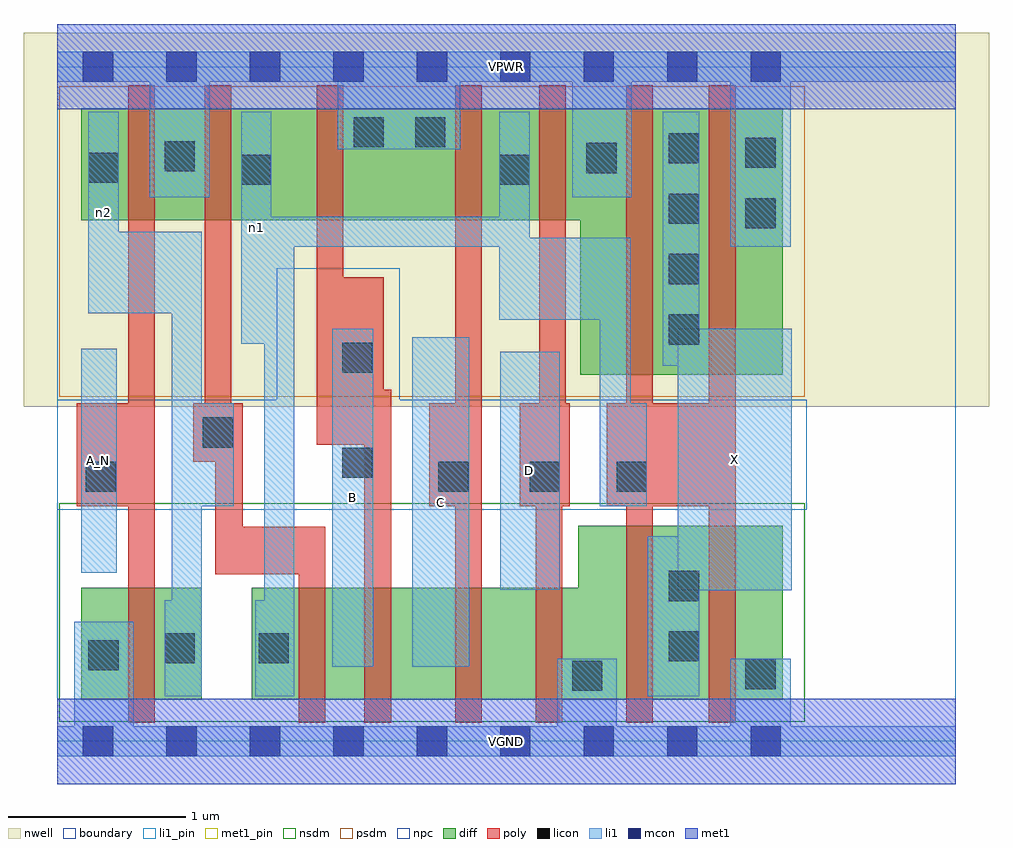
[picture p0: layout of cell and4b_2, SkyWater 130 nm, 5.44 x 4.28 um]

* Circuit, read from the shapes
.subckt and4b_2 A_N B C D VGND VPWR X n1 n2
XM1 n2 A_N VGND VSUBS sky130_fd_pr__nfet_01v8 w=0.63 l=0.15
XM2 n3 n2 n1 VSUBS sky130_fd_pr__nfet_01v8 w=0.63 l=0.15
XM3 n4 B n3 VSUBS sky130_fd_pr__nfet_01v8 w=0.63 l=0.15
XM4 n5 C n4 VSUBS sky130_fd_pr__nfet_01v8 w=0.63 l=0.15
XM5 VGND D n5 VSUBS sky130_fd_pr__nfet_01v8 w=0.63 l=0.15
XM6 X n1 VGND VSUBS sky130_fd_pr__nfet_01v8 w=0.98 l=0.15 m=2
XM7 VPWR A_N n2 n6 sky130_fd_pr__pfet_01v8 w=0.63 l=0.15
XM8 n1 n2 VPWR n6 sky130_fd_pr__pfet_01v8 w=0.63 l=0.15
XM9 VPWR B n1 n6 sky130_fd_pr__pfet_01v8 w=0.63 l=0.15
XM10 n1 C VPWR n6 sky130_fd_pr__pfet_01v8 w=0.63 l=0.15
XM11 VPWR D n1 n6 sky130_fd_pr__pfet_01v8 w=0.63 l=0.15
XM12 X n1 VPWR n6 sky130_fd_pr__pfet_01v8 w=1.5 l=0.15 m=2
.ends

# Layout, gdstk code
import gdstk
lib = gdstk.Library(unit=1e-6, precision=1e-09)
def R(c, l, rs):  # rectangles x0, y0, x1, y1
    for r in rs: c.add(gdstk.rectangle(r[:2], r[2:], *l))
def A(c, l, x, y, w, h, nx, ny, dx, dy):  # array of equal rectangles
    R(c, l, [(x+i*dx, y+j*dy, x+i*dx+w, y+j*dy+h) for i in range(nx) for j in range(ny)])
nwell = (64, 20)
diff = (65, 20)
poly = (66, 20)
licon = (66, 44)
li1_pin = (67, 16)
li1 = (67, 20)
mcon = (67, 44)
met1_pin = (68, 16)
met1 = (68, 20)
nsdm = (93, 44)
psdm = (94, 20)
npc = (95, 20)
boundary = (235, 4)

and4b_2 = lib.new_cell('and4b_2')
R(and4b_2, nwell, [(-0.19,1.885,5.25,3.99), (0,1.885,5.06,3.99)])
R(and4b_2, diff, [(0.135,0.235,0.815,0.865), (1.095,0.235,4.085,0.865), (2.935,0.235,4.085,1.215), (2.945,2.065,4.085,3.565), (0.135,2.935,4.085,3.565)])
R(and4b_2, poly, [(0.4,0.105,0.55,3.695), (1.36,0.105,1.51,1.21), (1.73,0.105,1.88,1.98), (2.24,0.105,2.39,3.695), (2.695,0.105,2.845,1.905), (3.205,0.105,3.355,3.695), (3.67,0.105,3.82,3.695), (0.89,0.94,1.51,1.21), (0.89,0.94,1.045,1.905), (0.11,1.325,0.55,1.905), (2.095,1.325,2.39,1.905), (2.605,1.325,2.885,1.905), (2.715,1.325,2.865,3.695), (3.095,1.325,3.82,1.905), (0.765,1.575,1.045,1.905), (0.83,1.575,0.98,3.695), (1.46,1.67,1.84,2.615), (1.46,1.67,1.61,3.695)])
A(and4b_2, licon, 3.445, 2.235, 0.17, 0.17, 1, 4, 0, 0.34)
R(and4b_2, licon, [(2.9,0.285,3.07,0.455), (3.875,0.295,4.045,0.465), (0.175,0.4,0.345,0.57), (0.605,0.44,0.775,0.61), (1.135,0.44,1.305,0.61), (3.445,0.45,3.615,0.62), (3.445,0.79,3.615,0.96), (0.16,1.405,0.33,1.575), (2.145,1.405,2.315,1.575), (2.66,1.405,2.83,1.575), (3.15,1.405,3.32,1.575), (1.605,1.485,1.775,1.655), (0.82,1.655,0.99,1.825), (1.605,2.075,1.775,2.245), (3.875,2.89,4.045,3.06), (1.035,3.135,1.205,3.305), (2.49,3.135,2.66,3.305), (0.175,3.145,0.345,3.315), (2.98,3.2,3.15,3.37), (0.605,3.21,0.775,3.38), (3.875,3.23,4.045,3.4), (1.67,3.345,1.84,3.515), (2.015,3.345,2.185,3.515)])
R(and4b_2, li1_pin, [(1.55,0.42,1.78,2.325), (2,0.42,2.32,2.275), (3.495,0.85,4.135,2.325), (2.495,0.855,2.83,2.195), (0.135,0.95,0.335,2.21)])
R(and4b_2, li1, [(0,-0.085,5.06,0.085), (0.095,-0.085,0.43,0.675), (2.815,-0.085,3.15,0.465), (3.79,-0.085,4.13,0.465), (0.605,0.255,0.815,0.795), (0.645,0.255,0.815,2.87), (1.115,0.255,1.335,0.795), (1.165,0.255,1.335,2.955), (3.325,0.255,3.615,1.155), (1.55,0.42,1.78,2.325), (2,0.42,2.32,2.275), (3.495,0.85,4.135,2.325), (2.495,0.855,2.83,2.195), (0.135,0.95,0.335,2.21), (0.645,1.325,0.995,1.905), (3.055,1.325,3.23,2.835), (3.055,1.325,3.32,1.905), (3.41,2.115,3.615,3.545), (1.035,2.24,1.205,3.545), (2.49,2.375,3.23,2.835), (2.49,2.375,2.66,3.545), (0.175,2.41,0.345,3.545), (0.175,2.41,0.815,2.87), (1.035,2.785,2.66,2.955), (3.79,2.785,4.13,3.885), (0.52,3.065,0.86,3.885), (2.9,3.065,3.235,3.885), (1.58,3.335,2.27,3.885), (0,3.715,5.06,3.885)])
A(and4b_2, mcon, 0.145, -0.085, 0.17, 0.17, 9, 2, 0.47, 3.8)
R(and4b_2, met1_pin, [(0,-0.24,5.06,0.24), (0,3.56,5.06,4.04)])
R(and4b_2, met1, [(0,-0.24,5.06,0.24), (0,3.56,5.06,4.04)])
R(and4b_2, nsdm, [(0.01,0.11,4.21,1.34)])
R(and4b_2, psdm, [(0.01,1.94,4.21,3.69)])
R(and4b_2, npc, [(0,1.305,4.22,1.925), (1.235,1.305,1.93,2.665)])
R(and4b_2, boundary, [(0,0,5.06,3.8)])
and4b_2.add(gdstk.Label('A_N', (0.235,1.58), layer=67, texttype=5))
and4b_2.add(gdstk.Label('B', (1.665,1.372), layer=67, texttype=5))
and4b_2.add(gdstk.Label('C', (2.16,1.347), layer=67, texttype=5))
and4b_2.add(gdstk.Label('D', (2.662,1.525), layer=67, texttype=5))
and4b_2.add(gdstk.Label('X', (3.815,1.587), layer=67, texttype=5))
and4b_2.add(gdstk.Label('n2', (0.26,2.977), layer=67, texttype=5))
and4b_2.add(gdstk.Label('n1', (1.12,2.892), layer=67, texttype=5))
and4b_2.add(gdstk.Label('VPWR', (2.53,3.8), layer=68, texttype=5))
and4b_2.add(gdstk.Label('VGND', (2.53,0), layer=68, texttype=5))
and4b_2.add(gdstk.Label('A_N', (0.235,1.58), layer=67, texttype=16))
and4b_2.add(gdstk.Label('B', (1.665,1.372), layer=67, texttype=16))
and4b_2.add(gdstk.Label('C', (2.16,1.347), layer=67, texttype=16))
and4b_2.add(gdstk.Label('D', (2.662,1.525), layer=67, texttype=16))
and4b_2.add(gdstk.Label('X', (3.815,1.587), layer=67, texttype=16))
and4b_2.add(gdstk.Label('VPWR', (2.53,3.8), layer=68, texttype=16))
and4b_2.add(gdstk.Label('VGND', (2.53,0), layer=68, texttype=16))

lib.write_gds('and4b_2.gds')
